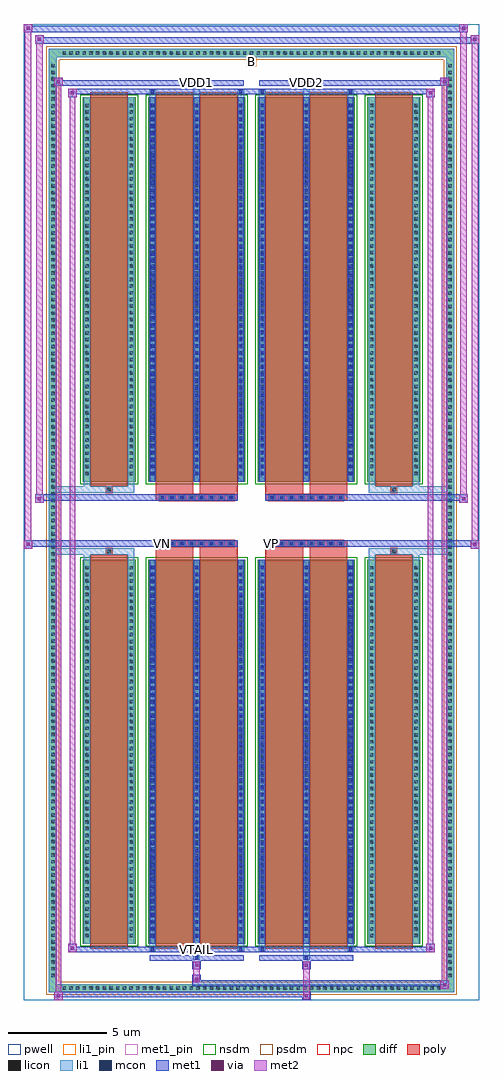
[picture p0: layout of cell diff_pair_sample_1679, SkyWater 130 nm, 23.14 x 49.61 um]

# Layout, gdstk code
import gdstk
lib = gdstk.Library(unit=1e-6, precision=5e-09)
def R(c, l, rs):  # rectangles x0, y0, x1, y1
    for r in rs: c.add(gdstk.rectangle(r[:2], r[2:], *l))
def A(c, l, x, y, w, h, nx, ny, dx, dy):  # array of equal rectangles
    R(c, l, [(x+i*dx, y+j*dy, x+i*dx+w, y+j*dy+h) for i in range(nx) for j in range(ny)])
def P(c, l, *ps):  # polygons
    for p in ps: c.add(gdstk.Polygon(p, *l))
pwell = (64, 44)
diff = (65, 20)
poly = (66, 20)
licon = (66, 44)
li1_pin = (67, 16)
li1 = (67, 20)
mcon = (67, 44)
met1_pin = (68, 16)
met1 = (68, 20)
via = (68, 44)
met2 = (69, 20)
nsdm = (93, 44)
psdm = (94, 20)
npc = (95, 20)

diff_pair_sample_1679 = lib.new_cell('diff_pair_sample_1679')
R(diff_pair_sample_1679, pwell, [(-11.57,-24.37,11.57,25.24), (-8.89,-22.56,-0.01,-0.8), (0.01,-22.56,8.89,-0.8), (-8.89,0.8,-0.01,22.56), (0.01,0.8,8.89,22.56)])
A(diff_pair_sample_1679, diff, -9.725, -23.97, 0.41, 0.41, 57, 2, 0.34, 47.53)
A(diff_pair_sample_1679, diff, -10.3, -23.325, 0.41, 0.41, 1, 137, 0, 0.34)
A(diff_pair_sample_1679, diff, 9.89, -23.325, 0.41, 0.41, 1, 137, 0, 0.34)
R(diff_pair_sample_1679, diff, [(-9.725,-23.97,9.725,-23.56), (-10.3,-23.325,-9.89,23.325), (9.89,-23.325,10.3,23.325), (-8.58,-21.515,-5.89,-1.985), (-5.25,-21.515,-0.32,-1.985), (0.32,-21.515,5.25,-1.985), (5.89,-21.515,8.58,-1.985), (-8.58,1.985,-5.89,21.515), (-5.25,1.985,-0.32,21.515), (0.32,1.985,5.25,21.515), (5.89,1.985,8.58,21.515), (-9.725,23.56,9.725,23.97)])
P(diff_pair_sample_1679, diff, [(10.3,23.97),(-10.3,23.97),(-10.3,-23.56),(-9.89,-23.56),(-9.89,23.56),(9.89,23.56),(9.89,-23.56),(-9.89,-23.56),(-10.3,-23.56),(-10.3,-23.97),(10.3,-23.97)])
A(diff_pair_sample_1679, poly, -4.7, -1.33, 0.33, 0.33, 8, 2, 0.5, 2.33)
A(diff_pair_sample_1679, poly, 0.87, -1.33, 0.33, 0.33, 8, 2, 0.5, 2.33)
R(diff_pair_sample_1679, poly, [(-8.19,-21.765,-6.28,-1.735), (-4.86,-21.765,-2.95,-1.735), (-2.62,-21.765,-0.71,-1.735), (0.71,-21.765,2.62,-1.735), (2.95,-21.765,4.86,-1.735), (6.28,-21.765,8.19,-1.735), (-7.4,-1.735,-7.07,-1.405), (-7.4,-1.735,-7.07,-1.405), (-4.86,-1.735,-2.95,-1.33), (-2.62,-1.735,-0.71,-1.33), (0.71,-1.735,2.62,-1.33), (2.95,-1.735,4.86,-1.33), (7.07,-1.735,7.4,-1.405), (7.07,-1.735,7.4,-1.405), (-4.86,-1.33,-0.71,-1), (0.71,-1.33,4.86,-1), (-4.86,1,-0.71,1.33), (0.71,1,4.86,1.33), (-4.86,1.33,-2.95,1.735), (-2.62,1.33,-0.71,1.735), (0.71,1.33,2.62,1.735), (2.95,1.33,4.86,1.735), (-7.4,1.405,-7.07,1.735), (-7.4,1.405,-7.07,1.735), (7.07,1.405,7.4,1.735), (7.07,1.405,7.4,1.735), (-8.19,1.735,-6.28,21.765), (-4.86,1.735,-2.95,21.765), (-2.62,1.735,-0.71,21.765), (0.71,1.735,2.62,21.765), (2.95,1.735,4.86,21.765), (6.28,1.735,8.19,21.765)])
A(diff_pair_sample_1679, licon, -9.605, -23.85, 0.17, 0.17, 57, 2, 0.34, 47.53)
A(diff_pair_sample_1679, licon, -10.18, -23.205, 0.17, 0.17, 1, 137, 0, 0.34)
A(diff_pair_sample_1679, licon, 10.01, -23.205, 0.17, 0.17, 1, 137, 0, 0.34)
A(diff_pair_sample_1679, licon, -8.44, -21.185, 0.17, 0.17, 1, 56, 0, 0.34)
A(diff_pair_sample_1679, licon, -6.2, -21.185, 0.17, 0.17, 1, 56, 0, 0.34)
A(diff_pair_sample_1679, licon, -5.11, -21.185, 0.17, 0.17, 3, 56, 2.24, 0.34)
A(diff_pair_sample_1679, licon, 0.46, -21.185, 0.17, 0.17, 3, 56, 2.24, 0.34)
A(diff_pair_sample_1679, licon, 6.03, -21.185, 0.17, 0.17, 1, 56, 0, 0.34)
A(diff_pair_sample_1679, licon, 8.27, -21.185, 0.17, 0.17, 1, 56, 0, 0.34)
A(diff_pair_sample_1679, licon, -4.62, -1.25, 0.17, 0.17, 8, 2, 0.5, 2.33)
A(diff_pair_sample_1679, licon, 0.95, -1.25, 0.17, 0.17, 8, 2, 0.5, 2.33)
A(diff_pair_sample_1679, licon, -8.44, 2.315, 0.17, 0.17, 1, 56, 0, 0.34)
A(diff_pair_sample_1679, licon, -6.2, 2.315, 0.17, 0.17, 1, 56, 0, 0.34)
A(diff_pair_sample_1679, licon, -5.11, 2.315, 0.17, 0.17, 3, 56, 2.24, 0.34)
A(diff_pair_sample_1679, licon, 0.46, 2.315, 0.17, 0.17, 3, 56, 2.24, 0.34)
A(diff_pair_sample_1679, licon, 6.03, 2.315, 0.17, 0.17, 1, 56, 0, 0.34)
A(diff_pair_sample_1679, licon, 8.27, 2.315, 0.17, 0.17, 1, 56, 0, 0.34)
R(diff_pair_sample_1679, licon, [(-7.32,-1.655,-7.15,-1.485), (7.15,-1.655,7.32,-1.485), (-7.32,1.485,-7.15,1.655), (7.15,1.485,7.32,1.655)])
R(diff_pair_sample_1679, li1_pin, [(-0.25,23.06,0.25,23.56)])
A(diff_pair_sample_1679, li1, -9.685, -23.93, 0.33, 0.33, 57, 2, 0.34, 47.53)
A(diff_pair_sample_1679, li1, -10.26, -23.285, 0.33, 0.33, 1, 137, 0, 0.34)
A(diff_pair_sample_1679, li1, 9.93, -23.285, 0.33, 0.33, 1, 137, 0, 0.34)
A(diff_pair_sample_1679, li1, -5.19, -21.515, 0.33, 19.53, 3, 2, 2.24, 23.5)
A(diff_pair_sample_1679, li1, 0.38, -21.515, 0.33, 19.53, 3, 2, 2.24, 23.5)
A(diff_pair_sample_1679, li1, -8.52, -21.265, 0.33, 0.33, 1, 56, 0, 0.34)
A(diff_pair_sample_1679, li1, -6.28, -21.265, 0.33, 0.33, 1, 56, 0, 0.34)
A(diff_pair_sample_1679, li1, -5.19, -21.265, 0.33, 0.33, 3, 56, 2.24, 0.34)
A(diff_pair_sample_1679, li1, 0.38, -21.265, 0.33, 0.33, 3, 56, 2.24, 0.34)
A(diff_pair_sample_1679, li1, 5.95, -21.265, 0.33, 0.33, 1, 56, 0, 0.34)
A(diff_pair_sample_1679, li1, 8.19, -21.265, 0.33, 0.33, 1, 56, 0, 0.34)
A(diff_pair_sample_1679, li1, -5.11, -21.195, 0.17, 0.17, 3, 53, 2.24, 0.36)
A(diff_pair_sample_1679, li1, -5.11, -21.195, 0.17, 18.89, 3, 2, 2.24, 23.5)
A(diff_pair_sample_1679, li1, 0.46, -21.195, 0.17, 0.17, 3, 53, 2.24, 0.36)
A(diff_pair_sample_1679, li1, 0.46, -21.195, 0.17, 18.89, 3, 2, 2.24, 23.5)
A(diff_pair_sample_1679, li1, -4.7, -1.33, 0.33, 0.33, 8, 2, 0.5, 2.33)
A(diff_pair_sample_1679, li1, 0.87, -1.33, 0.33, 0.33, 8, 2, 0.5, 2.33)
A(diff_pair_sample_1679, li1, -8.52, 2.235, 0.33, 0.33, 1, 56, 0, 0.34)
A(diff_pair_sample_1679, li1, -6.28, 2.235, 0.33, 0.33, 1, 56, 0, 0.34)
A(diff_pair_sample_1679, li1, -5.19, 2.235, 0.33, 0.33, 3, 56, 2.24, 0.34)
A(diff_pair_sample_1679, li1, 0.38, 2.235, 0.33, 0.33, 3, 56, 2.24, 0.34)
A(diff_pair_sample_1679, li1, 5.95, 2.235, 0.33, 0.33, 1, 56, 0, 0.34)
A(diff_pair_sample_1679, li1, 8.19, 2.235, 0.33, 0.33, 1, 56, 0, 0.34)
A(diff_pair_sample_1679, li1, -5.11, 2.305, 0.17, 0.17, 3, 53, 2.24, 0.36)
A(diff_pair_sample_1679, li1, 0.46, 2.305, 0.17, 0.17, 3, 53, 2.24, 0.36)
R(diff_pair_sample_1679, li1, [(-10.3,-23.97,-9.89,-23.56), (-10.3,-23.97,-9.89,-23.56), (-9.89,-23.97,9.89,-23.56), (9.89,-23.97,10.3,-23.56), (9.89,-23.97,10.3,-23.56), (-10.3,-23.56,-9.89,23.56), (9.89,-23.56,10.3,23.56), (-2.95,-22.32,-2.62,-21.515), (-2.87,-22.32,-2.7,-22.15), (2.62,-22.32,2.95,-21.515), (2.7,-22.32,2.87,-22.15), (-5.19,-21.89,-4.86,-21.515), (-5.11,-21.89,-4.94,-21.72), (-0.71,-21.89,-0.38,-21.515), (-0.63,-21.89,-0.46,-21.72), (0.38,-21.89,0.71,-21.515), (0.46,-21.89,0.63,-21.72), (4.86,-21.89,5.19,-21.515), (4.94,-21.89,5.11,-21.72), (-8.52,-21.515,-8.19,-1.985), (-6.28,-21.515,-5.95,-1.985), (5.95,-21.515,6.28,-1.985), (8.19,-21.515,8.52,-1.985), (-8.52,-1.985,-8.19,-1.405), (-6.28,-1.985,-5.95,-1.405), (5.95,-1.985,6.28,-1.405), (8.19,-1.985,8.52,-1.405), (-10.3,-1.735,-7.4,-1.405), (-8.52,-1.735,-7.4,-1.405), (-7.4,-1.735,-7.07,-1.405), (-7.07,-1.735,-5.95,-1.405), (5.95,-1.735,7.07,-1.405), (7.07,-1.735,7.4,-1.405), (7.07,-1.735,10.3,-1.405), (7.4,-1.735,8.52,-1.405), (-10.3,1.405,-7.4,1.735), (-8.52,1.405,-7.4,1.735), (-8.52,1.405,-8.19,1.985), (-7.4,1.405,-7.07,1.735), (-7.07,1.405,-5.95,1.735), (-6.28,1.405,-5.95,1.985), (5.95,1.405,7.07,1.735), (5.95,1.405,6.28,1.985), (7.07,1.405,7.4,1.735), (7.07,1.405,10.3,1.735), (7.4,1.405,8.52,1.735), (8.19,1.405,8.52,1.985), (-8.52,1.985,-8.19,21.515), (-6.28,1.985,-5.95,21.515), (5.95,1.985,6.28,21.515), (8.19,1.985,8.52,21.515), (-5.19,21.515,-4.86,21.89), (-2.95,21.515,-2.62,22.32), (-0.71,21.515,-0.38,21.89), (0.38,21.515,0.71,21.89), (2.62,21.515,2.95,22.32), (4.86,21.515,5.19,21.89), (-5.11,21.72,-4.94,21.89), (-0.63,21.72,-0.46,21.89), (0.46,21.72,0.63,21.89), (4.94,21.72,5.11,21.89), (-2.87,22.15,-2.7,22.32), (2.7,22.15,2.87,22.32), (-10.3,23.56,-9.89,23.97), (-10.3,23.56,-9.89,23.97), (-9.89,23.56,9.89,23.97), (9.89,23.56,10.3,23.97), (9.89,23.56,10.3,23.97)])
A(diff_pair_sample_1679, mcon, -5.11, -21.195, 0.17, 0.17, 3, 53, 2.24, 0.36)
A(diff_pair_sample_1679, mcon, 0.46, -21.195, 0.17, 0.17, 3, 53, 2.24, 0.36)
A(diff_pair_sample_1679, mcon, -4.62, -1.25, 0.17, 0.17, 8, 2, 0.5, 2.33)
A(diff_pair_sample_1679, mcon, 0.95, -1.25, 0.17, 0.17, 8, 2, 0.5, 2.33)
A(diff_pair_sample_1679, mcon, -5.11, 2.305, 0.17, 0.17, 3, 53, 2.24, 0.36)
A(diff_pair_sample_1679, mcon, 0.46, 2.305, 0.17, 0.17, 3, 53, 2.24, 0.36)
R(diff_pair_sample_1679, mcon, [(-2.87,-22.32,-2.7,-22.15), (2.7,-22.32,2.87,-22.15), (-5.11,-21.89,-4.94,-21.72), (-0.63,-21.89,-0.46,-21.72), (0.46,-21.89,0.63,-21.72), (4.94,-21.89,5.11,-21.72), (-5.11,21.72,-4.94,21.89), (-0.63,21.72,-0.46,21.89), (0.46,21.72,0.63,21.89), (4.94,21.72,5.11,21.89), (-2.87,22.15,-2.7,22.32), (2.7,22.15,2.87,22.32)])
R(diff_pair_sample_1679, met1_pin, [(-2.92,-21.93,-2.65,-21.66), (-4.67,-1.29,-4.4,-1.02), (0.9,-1.29,1.17,-1.02), (-2.92,22.11,-2.65,22.38), (2.65,22.11,2.92,22.38)])
A(diff_pair_sample_1679, met1, -5.17, -21.515, 0.29, 19.53, 3, 2, 2.24, 23.5)
A(diff_pair_sample_1679, met1, 0.4, -21.515, 0.29, 19.53, 3, 2, 2.24, 23.5)
A(diff_pair_sample_1679, met1, -5.17, -21.255, 0.29, 0.29, 3, 53, 2.24, 0.36)
A(diff_pair_sample_1679, met1, 0.4, -21.255, 0.29, 0.29, 3, 53, 2.24, 0.36)
A(diff_pair_sample_1679, met1, -4.68, -1.31, 0.29, 0.29, 8, 2, 0.5, 2.33)
A(diff_pair_sample_1679, met1, 0.89, -1.31, 0.29, 0.29, 8, 2, 0.5, 2.33)
A(diff_pair_sample_1679, met1, -5.17, 2.245, 0.29, 0.29, 3, 53, 2.24, 0.36)
A(diff_pair_sample_1679, met1, 0.4, 2.245, 0.29, 0.29, 3, 53, 2.24, 0.36)
R(diff_pair_sample_1679, met1, [(-10.03,-24.37,-9.6,-23.94), (2.57,-24.37,3,-23.94), (-10.03,-24.23,3,-23.94), (9.6,-23.8,10.03,-23.37), (-3,-23.66,10.03,-23.37), (-3,-23.52,-2.57,-23.09), (-3,-22.81,-2.57,-22.38), (2.57,-22.81,3,-22.38), (-5.17,-22.38,-0.4,-22.09), (-2.93,-22.38,-2.64,-22.09), (0.4,-22.38,5.17,-22.09), (2.64,-22.38,2.93,-22.09), (-9.32,-21.95,-8.89,-21.52), (-9.32,-21.95,-5.17,-21.66), (-5.17,-21.95,-4.88,-21.66), (-5.17,-21.95,-0.4,-21.66), (-0.69,-21.95,-0.4,-21.66), (-0.4,-21.95,0.4,-21.66), (0.4,-21.95,0.69,-21.66), (0.4,-21.95,5.17,-21.66), (4.88,-21.95,5.17,-21.66), (5.17,-21.95,9.32,-21.66), (8.89,-21.95,9.32,-21.52), (-11.57,-1.43,-11.14,-1), (11.14,-1.43,11.57,-1), (-11.57,-1.33,-0.71,-1), (-4.86,-1.33,-0.71,-1), (0.71,-1.33,4.86,-1), (0.71,-1.33,11.57,-1), (-11,0.9,-10.57,1.33), (10.57,0.9,11,1.33), (-11,1,-4.86,1.33), (-4.86,1,-0.71,1.33), (0.71,1,4.86,1.33), (4.86,1,11,1.33), (-9.32,21.52,-8.89,21.95), (8.89,21.52,9.32,21.95), (-9.32,21.66,-5.17,21.95), (-5.17,21.66,-4.88,21.95), (-5.17,21.66,-0.4,21.95), (-0.69,21.66,-0.4,21.95), (-0.4,21.66,0.4,21.95), (0.4,21.66,0.69,21.95), (0.4,21.66,5.17,21.95), (4.88,21.66,5.17,21.95), (5.17,21.66,9.32,21.95), (-10.03,22.09,-9.6,22.52), (-10.03,22.09,-5.17,22.38), (-5.17,22.09,-0.4,22.38), (-2.93,22.09,-2.64,22.38), (0.4,22.09,5.17,22.38), (2.64,22.09,2.93,22.38), (5.17,22.09,10.03,22.38), (9.6,22.09,10.03,22.52), (-11,24.24,-10.57,24.67), (-11,24.24,-8.89,24.57), (-8.89,24.24,8.89,24.57), (8.89,24.24,11.57,24.57), (11.14,24.24,11.57,24.67), (-11.57,24.81,-11.14,25.24), (-11.57,24.81,-8.89,25.14), (-8.89,24.81,8.89,25.14), (8.89,24.81,11,25.14), (10.57,24.81,11,25.24)])
R(diff_pair_sample_1679, via, [(-9.89,-24.23,-9.74,-24.08), (2.71,-24.23,2.86,-24.08), (9.74,-23.66,9.89,-23.51), (-2.86,-23.38,-2.71,-23.23), (-2.86,-22.67,-2.71,-22.52), (2.71,-22.67,2.86,-22.52), (-9.18,-21.81,-9.03,-21.66), (9.03,-21.81,9.18,-21.66), (-11.43,-1.29,-11.28,-1.14), (11.28,-1.29,11.43,-1.14), (-10.86,1.04,-10.71,1.19), (10.71,1.04,10.86,1.19), (-9.18,21.66,-9.03,21.81), (9.03,21.66,9.18,21.81), (-9.89,22.23,-9.74,22.38), (9.74,22.23,9.89,22.38), (-10.86,24.38,-10.71,24.53), (11.28,24.38,11.43,24.53), (-11.43,24.95,-11.28,25.1), (10.71,24.95,10.86,25.1)])
R(diff_pair_sample_1679, met2, [(-10.03,-24.37,-9.6,-23.94), (-9.96,-24.37,-9.67,22.52), (-9.67,-24.37,-9.6,-23.94), (-9.98,-24.32,-9.65,-23.99), (2.62,-24.32,2.95,-23.99), (2.62,-23.99,2.95,-22.76), (9.6,-23.8,10.03,-23.37), (9.67,-23.8,9.96,22.52), (9.96,-23.8,10.03,-23.37), (9.65,-23.75,9.98,-23.42), (-2.95,-23.47,-2.62,-23.14), (-2.95,-23.14,-2.62,-22.76), (-2.95,-22.76,-2.62,-22.43), (2.62,-22.76,2.95,-22.43), (-9.32,-21.95,-8.89,-21.52), (-9.25,-21.95,-8.96,21.95), (-8.96,-21.95,-8.89,-21.52), (8.89,-21.95,9.32,-21.52), (8.96,-21.95,9.25,21.95), (9.25,-21.95,9.32,-21.52), (-9.27,-21.9,-8.94,-21.57), (8.94,-21.9,9.27,-21.57), (-11.57,-1.43,-11.14,-1), (-11.52,-1.43,-11.19,25.24), (-11.19,-1.43,-11.14,-1), (11.14,-1.43,11.57,-1), (11.19,-1.43,11.52,24.67), (11.52,-1.43,11.57,-1), (-11.52,-1.38,-11.19,-1.05), (11.19,-1.38,11.52,-1.05), (-11,0.9,-10.57,1.33), (-10.95,0.9,-10.62,24.67), (-10.62,0.9,-10.57,1.33), (10.57,0.9,11,1.33), (10.62,0.9,10.95,25.24), (10.95,0.9,11,1.33), (-10.95,0.95,-10.62,1.28), (10.62,0.95,10.95,1.28), (-9.32,21.52,-8.89,21.95), (-8.96,21.52,-8.89,21.95), (8.89,21.52,9.32,21.95), (9.25,21.52,9.32,21.95), (-9.27,21.57,-8.94,21.9), (8.94,21.57,9.27,21.9), (-10.03,22.09,-9.6,22.52), (-9.67,22.09,-9.6,22.52), (9.6,22.09,10.03,22.52), (9.96,22.09,10.03,22.52), (-9.98,22.14,-9.65,22.47), (9.65,22.14,9.98,22.47), (-11,24.24,-10.57,24.67), (-10.62,24.24,-10.57,24.67), (11.14,24.24,11.57,24.67), (11.52,24.24,11.57,24.67), (-10.95,24.29,-10.62,24.62), (11.19,24.29,11.52,24.62), (-11.57,24.81,-11.14,25.24), (-11.19,24.81,-11.14,25.24), (10.57,24.81,11,25.24), (10.95,24.81,11,25.24), (-11.52,24.86,-11.19,25.19), (10.62,24.86,10.95,25.19)])
R(diff_pair_sample_1679, nsdm, [(-8.71,-21.645,-5.76,-1.855), (-5.38,-21.645,-0.19,-1.855), (0.19,-21.645,5.38,-1.855), (5.76,-21.645,8.71,-1.855), (-8.71,1.855,-5.76,21.645), (-5.38,1.855,-0.19,21.645), (0.19,1.855,5.38,21.645), (5.76,1.855,8.71,21.645)])
P(diff_pair_sample_1679, psdm, [(10.43,24.1),(-10.43,24.1),(-10.43,-23.43),(-9.76,-23.43),(-9.76,23.43),(9.76,23.43),(9.76,-23.43),(-9.76,-23.43),(-10.43,-23.43),(-10.43,-24.1),(10.43,-24.1)])
A(diff_pair_sample_1679, npc, -4.72, -1.35, 0.37, 0.37, 8, 2, 0.5, 2.33)
A(diff_pair_sample_1679, npc, 0.85, -1.35, 0.37, 0.37, 8, 2, 0.5, 2.33)
R(diff_pair_sample_1679, npc, [(-7.42,-1.755,-7.05,-1.385), (7.05,-1.755,7.42,-1.385), (-4.72,-1.35,-3.85,-0.98), (-4.72,-1.35,-3.85,-0.98), (-4.22,-1.35,-3.35,-0.98), (-4.22,-1.35,-3.35,-0.98), (-3.72,-1.35,-2.85,-0.98), (-3.72,-1.35,-2.85,-0.98), (-3.22,-1.35,-2.35,-0.98), (-3.22,-1.35,-2.35,-0.98), (-2.72,-1.35,-1.85,-0.98), (-2.72,-1.35,-1.85,-0.98), (-2.22,-1.35,-1.35,-0.98), (-2.22,-1.35,-1.35,-0.98), (-1.72,-1.35,-0.85,-0.98), (-1.72,-1.35,-0.85,-0.98), (0.85,-1.35,1.72,-0.98), (0.85,-1.35,1.72,-0.98), (1.35,-1.35,2.22,-0.98), (1.35,-1.35,2.22,-0.98), (1.85,-1.35,2.72,-0.98), (1.85,-1.35,2.72,-0.98), (2.35,-1.35,3.22,-0.98), (2.35,-1.35,3.22,-0.98), (2.85,-1.35,3.72,-0.98), (2.85,-1.35,3.72,-0.98), (3.35,-1.35,4.22,-0.98), (3.35,-1.35,4.22,-0.98), (3.85,-1.35,4.72,-0.98), (3.85,-1.35,4.72,-0.98), (-4.72,0.98,-3.85,1.35), (-4.72,0.98,-3.85,1.35), (-4.22,0.98,-3.35,1.35), (-4.22,0.98,-3.35,1.35), (-3.72,0.98,-2.85,1.35), (-3.72,0.98,-2.85,1.35), (-3.22,0.98,-2.35,1.35), (-3.22,0.98,-2.35,1.35), (-2.72,0.98,-1.85,1.35), (-2.72,0.98,-1.85,1.35), (-2.22,0.98,-1.35,1.35), (-2.22,0.98,-1.35,1.35), (-1.72,0.98,-0.85,1.35), (-1.72,0.98,-0.85,1.35), (0.85,0.98,1.72,1.35), (0.85,0.98,1.72,1.35), (1.35,0.98,2.22,1.35), (1.35,0.98,2.22,1.35), (1.85,0.98,2.72,1.35), (1.85,0.98,2.72,1.35), (2.35,0.98,3.22,1.35), (2.35,0.98,3.22,1.35), (2.85,0.98,3.72,1.35), (2.85,0.98,3.72,1.35), (3.35,0.98,4.22,1.35), (3.35,0.98,4.22,1.35), (3.85,0.98,4.72,1.35), (3.85,0.98,4.72,1.35), (-7.42,1.385,-7.05,1.755), (7.05,1.385,7.42,1.755)])
diff_pair_sample_1679.add(gdstk.Label('VTAIL', (-2.785,-21.795), layer=68, texttype=5))
diff_pair_sample_1679.add(gdstk.Label('VN', (-4.535,-1.155), layer=68, texttype=5))
diff_pair_sample_1679.add(gdstk.Label('VP', (1.035,-1.155), layer=68, texttype=5))
diff_pair_sample_1679.add(gdstk.Label('B', (0,23.31), layer=67, texttype=5))
diff_pair_sample_1679.add(gdstk.Label('VDD2', (2.785,22.245), layer=68, texttype=5))
diff_pair_sample_1679.add(gdstk.Label('VDD1', (-2.785,22.245), layer=68, texttype=5))

lib.write_gds('diff_pair_sample_1679.gds')
